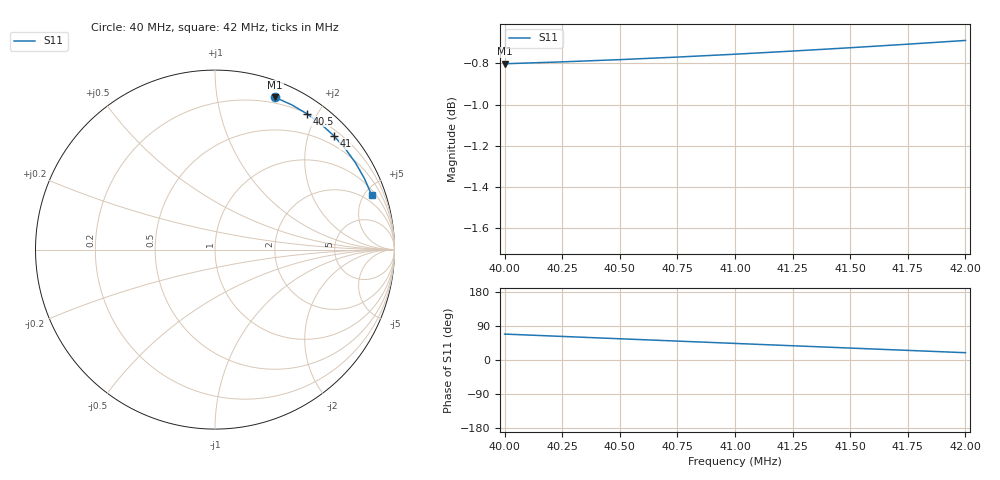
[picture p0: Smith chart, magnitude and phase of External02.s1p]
# Hz S RI R 50
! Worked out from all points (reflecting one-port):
!   9 points, 40 MHz to 42 MHz, reference 50 ohm
!   lowest |S11| = -0.8 dB at 40 MHz (marker M1), VSWR 21.69, Z = 7.27 + j73.1 ohm
!   phase of S11 starts at 68 deg and turns -49 deg over the sweep
!   S11 on the Smith chart (normalised r, x): 40 MHz: 0.15, +1.46; 40.5 MHz: 0.20, +1.86; 41 MHz: 0.31, +2.46; 42 MHz: 1.34, +5.58
4e7  0.3357 0.8478
4.025e7  0.4255 0.8075
4.05e7  0.5105 0.7581
4.075e7  0.5897 0.7
4.1e7  0.6622 0.6339
4.125e7  0.7274 0.5605
4.15e7  0.7846 0.4806
4.175e7  0.833 0.395
4.2e7  0.8721 0.3047
